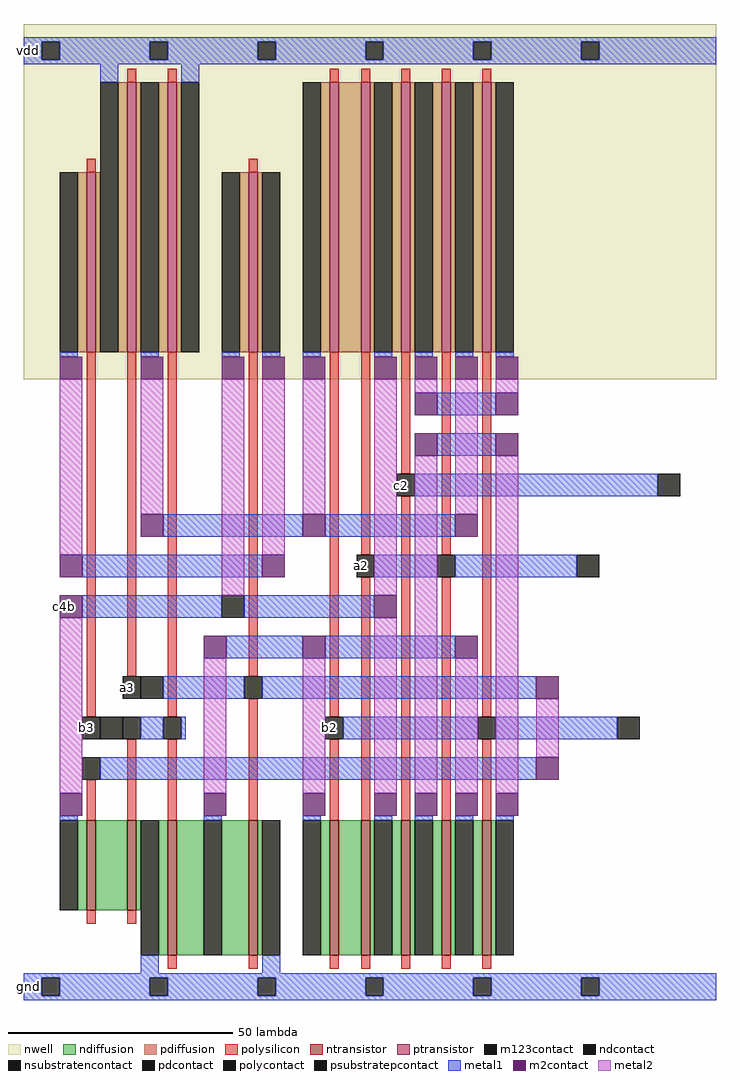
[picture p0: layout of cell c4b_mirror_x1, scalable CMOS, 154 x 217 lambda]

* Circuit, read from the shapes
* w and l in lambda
.subckt c4b_mirror_x1 a2 a3 b2 b3 c2 c4b vdd gnd
M1 n1 a3 c4b gnd nfet w=20 l=2
M2 gnd b3 n1 gnd nfet w=20 l=2
M3 n2 b3 gnd gnd nfet w=30 l=2
M4 gnd a3 n2 gnd nfet w=30 l=2
M5 n3 b2 n2 gnd nfet w=30 l=2
M6 c4b a2 n3 gnd nfet w=30 l=2
M7 n4 c2 c4b gnd nfet w=30 l=2
M8 n2 a2 n4 gnd nfet w=30 l=2
M9 n4 b2 n2 gnd nfet w=30 l=2
M10 vdd b3 n5 vdd pfet w=40 l=2
M11 n6 a3 vdd vdd pfet w=60 l=2
M12 vdd b3 n6 vdd pfet w=60 l=2
M13 n5 a3 c4b vdd pfet w=40 l=2
M14 n7 b2 n6 vdd pfet w=60 l=2
M15 c4b a2 n7 vdd pfet w=60 l=2
M16 n8 c2 c4b vdd pfet w=60 l=2
M17 n6 a2 n8 vdd pfet w=60 l=2
M18 n8 b2 n6 vdd pfet w=60 l=2
.ends

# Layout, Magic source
magic
tech scmos
<< nwell >>
rect 0 138 154 217
<< ntransistor >>
rect 14 20 16 40
rect 23 20 25 40
rect 32 10 34 40
rect 50 10 52 40
rect 68 10 70 40
rect 75 10 77 40
rect 84 10 86 40
rect 93 10 95 40
rect 102 10 104 40
<< ptransistor >>
rect 14 144 16 184
rect 23 144 25 204
rect 32 144 34 204
rect 50 144 52 184
rect 68 144 70 204
rect 75 144 77 204
rect 84 144 86 204
rect 93 144 95 204
rect 102 144 104 204
<< ndiffusion >>
rect 12 20 14 40
rect 16 20 23 40
rect 25 20 26 40
rect 30 10 32 40
rect 34 10 40 40
rect 44 10 50 40
rect 52 10 53 40
rect 66 10 68 40
rect 70 10 75 40
rect 77 10 78 40
rect 82 10 84 40
rect 86 10 87 40
rect 91 10 93 40
rect 95 10 96 40
rect 100 10 102 40
rect 104 10 105 40
<< pdiffusion >>
rect 12 144 14 184
rect 16 144 17 184
rect 21 144 23 204
rect 25 144 26 204
rect 30 144 32 204
rect 34 144 35 204
rect 48 144 50 184
rect 52 144 53 184
rect 66 144 68 204
rect 70 144 75 204
rect 77 144 78 204
rect 82 144 84 204
rect 86 144 87 204
rect 91 144 93 204
rect 95 144 96 204
rect 100 144 102 204
rect 104 144 105 204
<< ndcontact >>
rect 8 20 12 40
rect 26 10 30 40
rect 40 10 44 40
rect 53 10 57 40
rect 62 10 66 40
rect 78 10 82 40
rect 87 10 91 40
rect 96 10 100 40
rect 105 10 109 40
<< pdcontact >>
rect 8 144 12 184
rect 17 144 21 204
rect 26 144 30 204
rect 35 144 39 204
rect 44 144 48 184
rect 53 144 57 184
rect 62 144 66 204
rect 78 144 82 204
rect 87 144 91 204
rect 96 144 100 204
rect 105 144 109 204
<< psubstratepcontact >>
rect 4 1 8 5
rect 28 1 32 5
rect 52 1 56 5
rect 76 1 80 5
rect 100 1 104 5
rect 124 1 128 5
<< nsubstratencontact >>
rect 4 209 8 213
rect 28 209 32 213
rect 52 209 56 213
rect 76 209 80 213
rect 100 209 104 213
rect 124 209 128 213
<< polysilicon >>
rect 23 204 25 207
rect 32 204 34 207
rect 68 204 70 207
rect 75 204 77 207
rect 84 204 86 207
rect 93 204 95 207
rect 102 204 104 207
rect 14 184 16 187
rect 50 184 52 187
rect 14 63 16 144
rect 23 72 25 144
rect 32 63 34 144
rect 50 72 52 144
rect 14 40 16 49
rect 23 40 25 58
rect 32 40 34 58
rect 50 40 52 67
rect 68 63 70 144
rect 75 99 77 144
rect 84 117 86 144
rect 68 40 70 58
rect 75 40 77 94
rect 84 40 86 112
rect 93 99 95 144
rect 93 40 95 94
rect 102 63 104 144
rect 102 40 104 58
rect 14 17 16 20
rect 23 17 25 20
rect 32 7 34 10
rect 50 7 52 10
rect 68 7 70 10
rect 75 7 77 10
rect 84 7 86 10
rect 93 7 95 10
rect 102 7 104 10
<< polycontact >>
rect 22 67 26 72
rect 49 67 53 72
rect 13 58 17 63
rect 22 58 26 63
rect 31 58 35 63
rect 13 49 17 54
rect 83 112 87 117
rect 74 94 78 99
rect 67 58 71 63
rect 92 94 96 99
rect 101 58 105 63
<< metal1 >>
rect 0 213 154 214
rect 0 209 4 213
rect 8 209 28 213
rect 32 209 52 213
rect 56 209 76 213
rect 80 209 100 213
rect 104 209 124 213
rect 128 209 154 213
rect 0 208 154 209
rect 17 204 21 208
rect 35 204 39 208
rect 8 143 12 144
rect 26 143 30 144
rect 44 143 48 144
rect 53 143 57 144
rect 62 143 66 144
rect 78 143 82 144
rect 87 143 91 144
rect 96 143 100 144
rect 105 143 109 144
rect 92 130 105 135
rect 92 121 105 126
rect 87 112 141 117
rect 31 103 62 108
rect 67 103 96 108
rect 13 94 53 99
rect 78 94 92 99
rect 96 94 123 99
rect 13 85 44 90
rect 49 85 78 90
rect 45 76 62 81
rect 67 76 96 81
rect 31 67 49 72
rect 53 67 114 72
rect 26 58 31 63
rect 35 58 36 63
rect 71 58 101 63
rect 105 58 132 63
rect 17 49 114 54
rect 8 40 12 41
rect 40 40 44 41
rect 62 40 66 41
rect 78 40 82 41
rect 87 40 91 41
rect 96 40 100 41
rect 105 40 109 41
rect 26 6 30 10
rect 53 6 57 10
rect 0 5 154 6
rect 0 1 4 5
rect 8 1 28 5
rect 32 1 52 5
rect 56 1 76 5
rect 80 1 100 5
rect 104 1 124 5
rect 128 1 154 5
rect 0 0 154 1
<< m2contact >>
rect 8 138 13 143
rect 26 138 31 143
rect 44 138 49 143
rect 53 138 58 143
rect 62 138 67 143
rect 78 138 83 143
rect 87 138 92 143
rect 96 138 101 143
rect 105 138 110 143
rect 87 130 92 135
rect 105 130 110 135
rect 87 121 92 126
rect 105 121 110 126
rect 26 103 31 108
rect 62 103 67 108
rect 96 103 101 108
rect 8 94 13 99
rect 53 94 58 99
rect 8 85 13 90
rect 78 85 83 90
rect 40 76 45 81
rect 62 76 67 81
rect 96 76 101 81
rect 114 67 119 72
rect 114 49 119 54
rect 8 41 13 46
rect 40 41 45 46
rect 62 41 67 46
rect 78 41 83 46
rect 87 41 92 46
rect 96 41 101 46
rect 105 41 110 46
<< metal2 >>
rect 8 99 13 138
rect 26 108 31 138
rect 44 90 49 138
rect 53 99 58 138
rect 62 108 67 138
rect 78 90 83 138
rect 87 135 92 138
rect 8 46 13 85
rect 40 46 45 76
rect 62 46 67 76
rect 78 46 83 85
rect 87 46 92 121
rect 96 108 101 138
rect 105 135 110 138
rect 96 46 101 76
rect 105 46 110 121
rect 114 54 119 67
<< m123contact >>
rect 44 85 49 90
rect 26 67 31 72
rect 17 58 22 63
rect 141 112 146 117
rect 123 94 128 99
rect 132 58 137 63
<< labels >>
rlabel metal1 74 94 76 99 0 a2
port 1 nsew
rlabel metal1 22 67 24 72 0 a3
port 2 nsew
rlabel metal1 67 58 69 63 0 b2
port 3 nsew
rlabel metal1 13 58 15 63 0 b3
port 4 nsew
rlabel metal1 83 112 85 117 0 c2
port 5 nsew
rlabel m2contact 8 85 10 90 0 c4b
port 6 nsew
rlabel metal1 0 208 2 214 0 vdd
port 7 nsew
rlabel metal1 0 0 2 6 0 gnd
port 8 nsew
<< end >>
